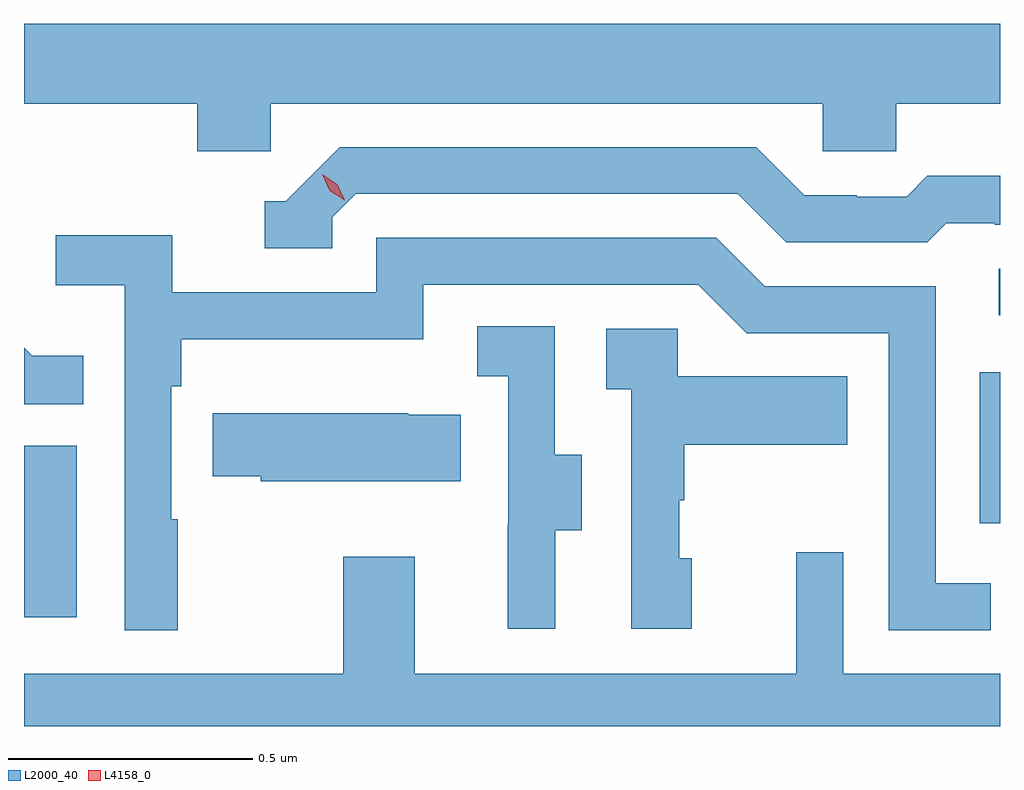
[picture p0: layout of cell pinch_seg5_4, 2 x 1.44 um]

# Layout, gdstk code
import gdstk
lib = gdstk.Library(unit=1e-6, precision=1e-09)
def R(c, l, rs):  # rectangles x0, y0, x1, y1
    for r in rs: c.add(gdstk.rectangle(r[:2], r[2:], *l))
def P(c, l, *ps):  # polygons
    for p in ps: c.add(gdstk.Polygon(p, *l))
L2000_40 = (2000, 40)
L4158_0 = (4158, 0)

pinch_seg5_4 = lib.new_cell('pinch_seg5_4')
R(pinch_seg5_4, L2000_40, [(1142.416,894.336,1142.524,894.687), (1144.374,894.528,1144.416,894.838), (1144.413,894.954,1144.416,895.05)])
P(pinch_seg5_4, L2000_40, [(1142.922,895.388),(1144.053,895.388),(1144.053,895.29),(1144.203,895.29),(1144.203,895.388),(1144.416,895.388),(1144.416,895.552),(1142.416,895.552),(1142.416,895.388),(1142.771,895.388),(1142.771,895.29),(1142.922,895.29)],
  [(1143.048,895.155),(1143.096,895.203),(1143.879,895.203),(1143.978,895.104),(1144.267,895.104),(1144.306,895.143),(1144.405,895.143),(1144.405,895.14),(1144.416,895.14),(1144.416,895.24),(1144.267,895.24),(1144.225,895.197),(1144.122,895.197),(1144.122,895.2),(1144.015,895.2),(1143.916,895.299),(1143.063,895.299),(1142.952,895.188),(1142.909,895.188),(1142.909,895.092),(1143.048,895.092)],
  [(1142.731,894.536),(1142.718,894.536),(1142.718,894.809),(1142.738,894.809),(1142.738,894.905),(1143.234,894.905),(1143.234,895.017),(1143.798,895.017),(1143.897,894.918),(1144.188,894.918),(1144.188,894.309),(1144.397,894.309),(1144.397,894.405),(1144.284,894.405),(1144.284,895.014),(1143.934,895.014),(1143.835,895.113),(1143.138,895.113),(1143.138,895.002),(1142.72,895.002),(1142.72,895.118),(1142.481,895.118),(1142.481,895.016),(1142.622,895.016),(1142.622,894.309),(1142.731,894.309)],
  [(1143.505,894.514),(1143.559,894.514),(1143.559,894.669),(1143.504,894.669),(1143.504,894.932),(1143.345,894.932),(1143.345,894.829),(1143.408,894.829),(1143.408,894.525),(1143.407,894.525),(1143.407,894.312),(1143.505,894.312)],
  [(1143.784,894.456),(1143.759,894.456),(1143.759,894.575),(1143.769,894.575),(1143.769,894.689),(1144.103,894.689),(1144.103,894.829),(1143.756,894.829),(1143.756,894.927),(1143.609,894.927),(1143.609,894.803),(1143.66,894.803),(1143.66,894.312),(1143.784,894.312)],
  [(1142.537,894.871),(1142.433,894.871),(1142.416,894.888),(1142.416,894.772),(1142.537,894.772)],
  [(1143.311,894.751),(1143.203,894.751),(1143.203,894.754),(1142.803,894.754),(1142.803,894.625),(1142.901,894.625),(1142.901,894.614),(1143.311,894.614)],
  [(1144.416,894.22),(1144.095,894.22),(1144.095,894.469),(1143.998,894.469),(1143.998,894.22),(1143.217,894.22),(1143.217,894.46),(1143.07,894.46),(1143.07,894.22),(1142.416,894.22),(1142.416,894.112),(1144.416,894.112)])
P(pinch_seg5_4, L4158_0, [(1143.073,895.19),(1143.043,895.21),(1143.027,895.243),(1143.027,895.243),(1143.027,895.243),(1143.058,895.223),(1143.073,895.19),(1143.073,895.19)])

lib.write_gds('pinch_seg5_4.gds')
